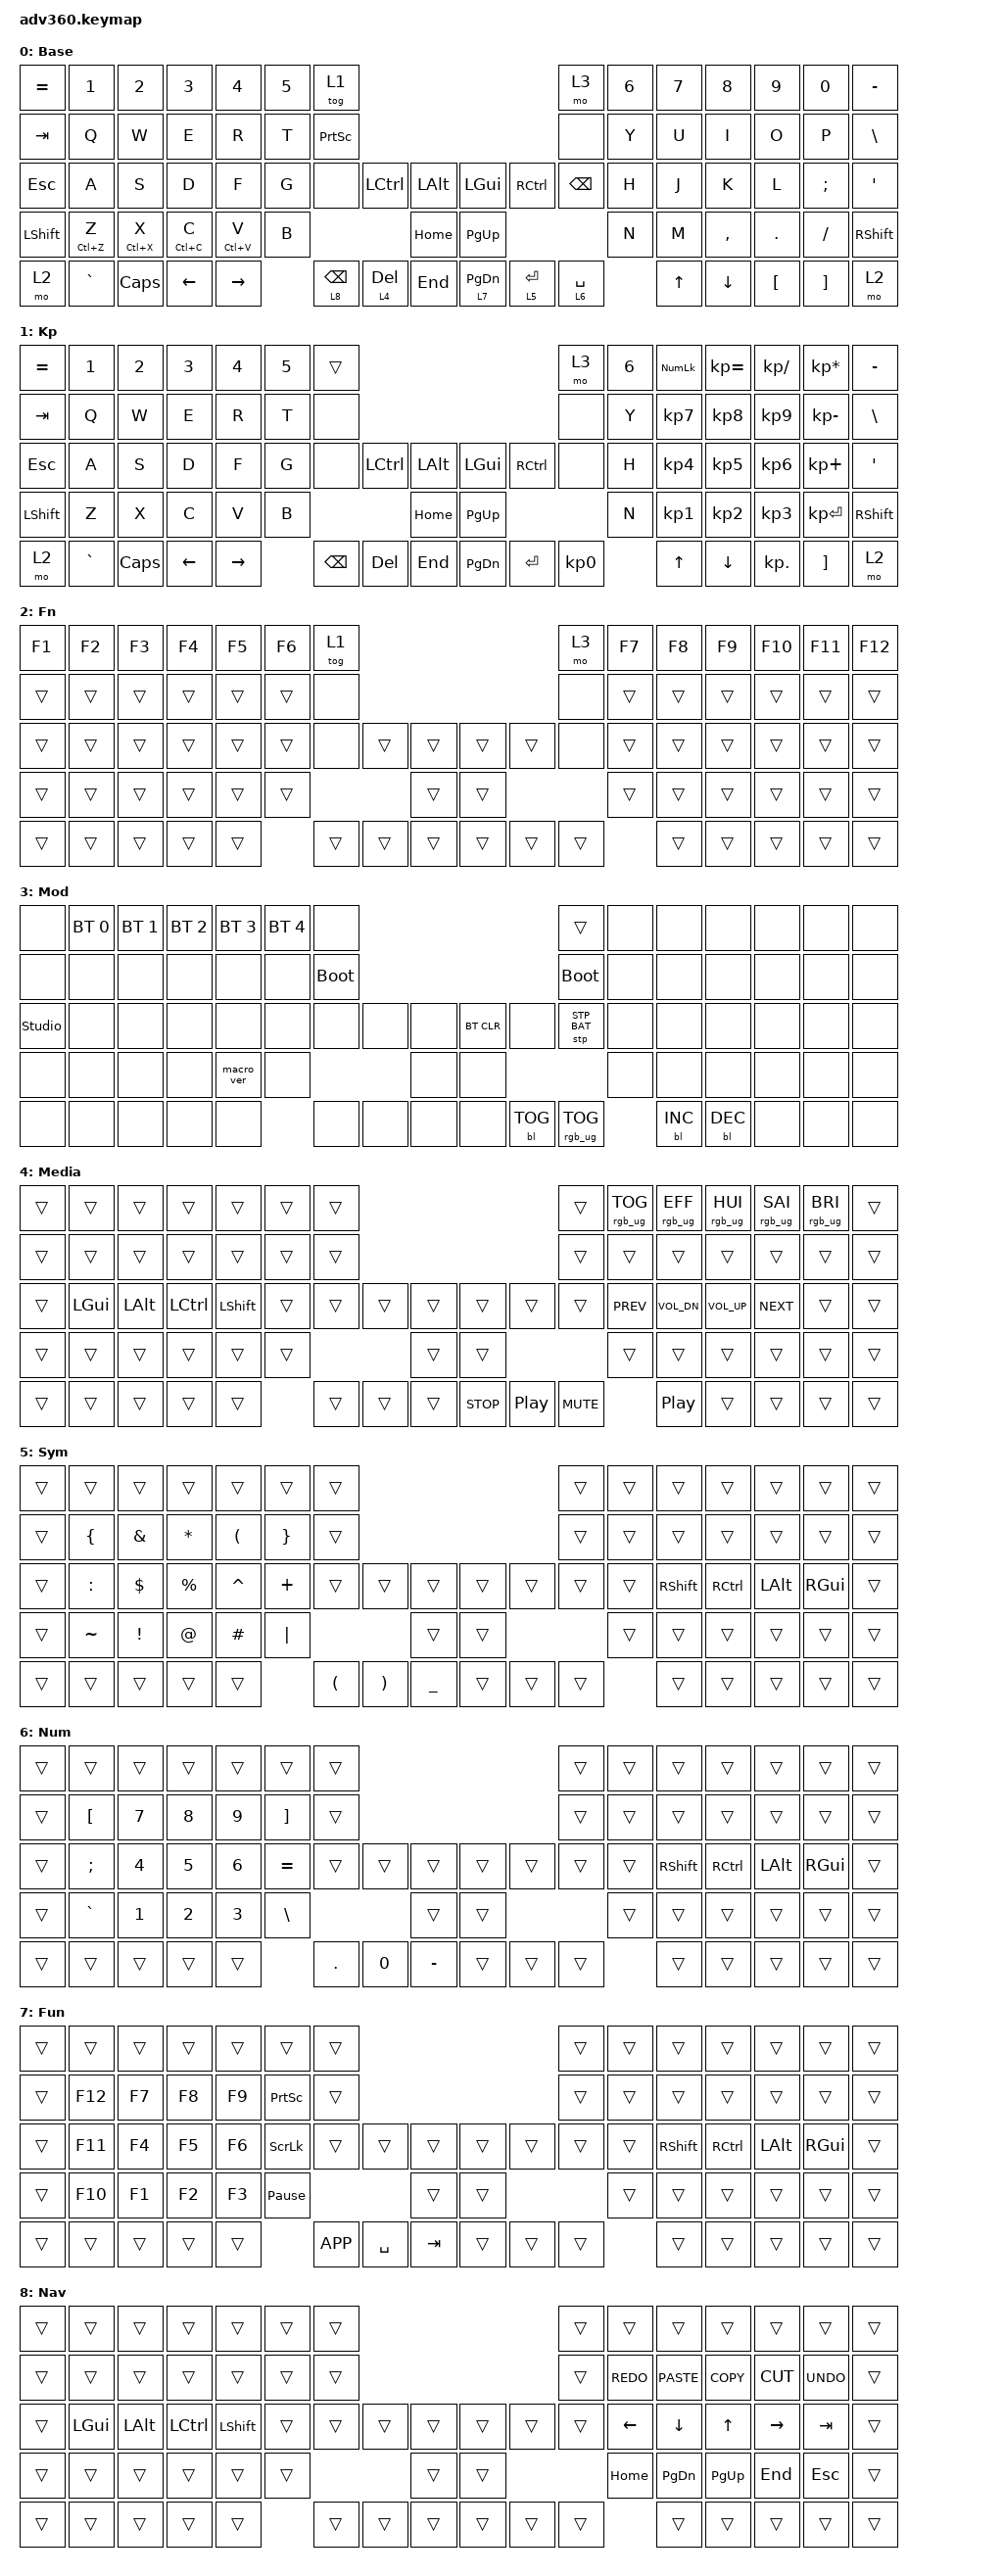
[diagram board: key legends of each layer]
#include <dt-bindings/zmk/stp.h>
#include <behaviors.dtsi>
#include <dt-bindings/zmk/backlight.h>
#include <dt-bindings/zmk/bt.h>
#include <dt-bindings/zmk/keys.h>
#include <dt-bindings/zmk/rgb.h>

/ {
    behaviors {
        #include "macros.dtsi"
        #include "version.dtsi"

        hm: homerow_mods {
            compatible = "zmk,behavior-hold-tap";
            label = "HOMEROW_MODS";
            #binding-cells = <2>;
            tapping-term-ms = <200>;
            quick_tap_ms = <175>;
            flavor = "tap-preferred";
            bindings = <&kp>, <&kp>;
        };

        hmrow: hmrow {
            compatible = "zmk,behavior-hold-tap";
            label = "HMROW";
            #binding-cells = <2>;
            tapping-term-ms = <300>;
            quick_tap_ms = <175>;
            flavor = "tap-preferred";
            bindings = <&kp>, <&kp>;

            hold-trigger-key-positions = <14 15 16 17 28 29 30 31 46 33 50 63 48 0 1 2 3 4 5 6 7 8 9 10 11 12 13 14 15 16 17 18 19 20 21 22 23 24 25 26 27 28 29 30 31 32 33 34 35 36 37 38 39 40 41 42 43 44 45 46 47 48 49 50 51 52 53 54 55 56 57 58 59 60 61 62 63 64 65 66 67 68 69 70 71 72 73 74 75>;
        };

        lgpress: lgpress {
            compatible = "zmk,behavior-hold-tap";
            label = "LGPRESS";
            bindings = <&kp>, <&kp>;

            #binding-cells = <2>;
            tapping-term-ms = <400>;
            flavor = "tap-preferred";
        };

        HMShiftR: HMShiftR {
            compatible = "zmk,behavior-hold-tap";
            label = "HMSHIFTR";
            bindings = <&kp>, <&kp>;

            #binding-cells = <2>;
            tapping-term-ms = <250>;
            flavor = "hold-preferred";
            hold-while-undecided;
            hold-trigger-on-release;
            hold-trigger-key-positions = <0 1 2 3 4 5 6 14 15 16 17 18 19 20 28 29 30 31 32 33 34 35 36 46 47 48 49 50 51 52 60 61 62 63 64 65 66 67>;
        };

        HMShiftL: HMShiftL {
            compatible = "zmk,behavior-hold-tap";
            label = "HMSHIFTL";
            bindings = <&kp>, <&kp>;

            #binding-cells = <2>;
            tapping-term-ms = <250>;
            flavor = "hold-preferred";
            hold-while-undecided;
            hold-trigger-on-release;
            hold-trigger-key-positions = <7 8 9 10 11 12 13 21 22 23 24 25 26 27 37 38 39 40 41 42 43 44 45 53 54 55 56 57 58 59 68 69 70 71 72 73 74 75>;
        };

        HML: HML {
            compatible = "zmk,behavior-hold-tap";
            label = "HML";
            bindings = <&kp>, <&kp>;

            #binding-cells = <2>;
            tapping-term-ms = <500>;
            flavor = "tap-preferred";
            hold-while-undecided;
            hold-trigger-on-release;
            hold-trigger-key-positions = <7 8 9 10 11 12 13 21 22 23 24 25 26 27 37 38 39 40 41 42 43 44 45 53 54 55 56 57 58 59 68 69 70 71 72 73 74 75>;
        };

        HMR: HMR {
            compatible = "zmk,behavior-hold-tap";
            label = "HMR";
            bindings = <&kp>, <&kp>;

            #binding-cells = <2>;
            tapping-term-ms = <500>;
            flavor = "tap-preferred";
            hold-while-undecided;
            hold-trigger-on-release;
            hold-trigger-key-positions = <0 1 2 3 4 5 6 14 15 16 17 18 19 20 28 29 30 31 32 33 34 35 36 46 47 48 49 50 51 52 60 61 62 63 64 65 66 67>;
        };
    };

    combos {
        compatible = "zmk,combos";

        combo_ctrl_r {
            bindings = <&kp RIGHT_CONTROL>;
            key-positions = <42 43>;
            require-prior-idle-ms = <100>;
            layers = <0>;
        };

        combo_ctrl_l {
            bindings = <&kp LEFT_CONTROL>;
            key-positions = <31 30>;
            layers = <0>;
            require-prior-idle-ms = <100>;
        };

        combo_alt_l {
            bindings = <&kp LEFT_ALT>;
            key-positions = <31 32>;
            require-prior-idle-ms = <100>;
            layers = <0>;
        };

        combo_alt_r {
            bindings = <&kp RIGHT_ALT>;
            key-positions = <41 42>;
            require-prior-idle-ms = <100>;
            layers = <0>;
        };

        combo_win_r {
            bindings = <&kp RIGHT_WIN>;
            key-positions = <43 44>;
            require-prior-idle-ms = <100>;
            layers = <0>;
        };

        combo_win_l {
            bindings = <&kp LEFT_WIN>;
            key-positions = <29 30>;
            require-prior-idle-ms = <100>;
            layers = <0>;
        };
    };

    keymap {
        compatible = "zmk,keymap";

        default_layer {
            display-name = "Base";
            bindings = <
&kp EQUAL  &kp N1            &kp N2            &kp N3            &kp N4            &kp N5  &tog 1                                                                     &mo 3          &kp N6  &kp N7  &kp N8     &kp N9    &kp N0    &kp MINUS
&kp TAB    &kp Q             &kp W             &kp E             &kp R             &kp T   &kp PRINTSCREEN                                                            &none          &kp Y   &kp U   &kp I      &kp O     &kp P     &kp BSLH
&kp ESC    &kp A             &kp S             &kp D             &kp F             &kp G   &none            &kp LCTRL     &kp LALT      &kp LGUI         &kp RCTRL    &kp BACKSPACE  &kp H   &kp J   &kp K      &kp L     &kp SEMI  &kp SQT
&kp LSHFT  &lgpress LC(Z) Z  &lgpress LC(X) X  &lgpress LC(C) C  &lgpress LC(V) V  &kp B                                  &kp HOME      &kp PG_UP                                    &kp N   &kp M   &kp COMMA  &kp DOT   &kp FSLH  &kp RSHFT
&mo 2      &kp GRAVE         &kp CAPS          &kp LEFT          &kp RIGHT                 &lt 8 BACKSPACE  &lt 4 DELETE  &kp END       &lt 7 PAGE_DOWN  &lt 5 ENTER  &lt 6 SPACE            &kp UP  &kp DOWN   &kp LBKT  &kp RBKT  &mo 2
            >;
        };

        keypad {
            display-name = "Kp";
            bindings = <
&kp EQUAL  &kp N1     &kp N2    &kp N3    &kp N4     &kp N5  &trans                                                   &mo 3      &kp N6  &kp KP_NUM  &kp KP_EQUAL  &kp KP_DIVIDE  &kp KP_MULTIPLY  &kp MINUS
&kp TAB    &kp Q      &kp W     &kp E     &kp R      &kp T   &none                                                    &none      &kp Y   &kp KP_N7   &kp KP_N8     &kp KP_N9      &kp KP_MINUS     &kp BSLH
&kp ESC    &kp A      &kp S     &kp D     &kp F      &kp G   &none     &kp LCTRL  &kp LALT      &kp LGUI   &kp RCTRL  &none      &kp H   &kp KP_N4   &kp KP_N5     &kp KP_N6      &kp KP_PLUS      &kp SQT
&kp LSHFT  &kp Z      &kp X     &kp C     &kp V      &kp B                        &kp HOME      &kp PG_UP                        &kp N   &kp KP_N1   &kp KP_N2     &kp KP_N3      &kp KP_ENTER     &kp RSHFT
&mo 2      &kp GRAVE  &kp CAPS  &kp LEFT  &kp RIGHT          &kp BSPC  &kp DEL    &kp END       &kp PG_DN  &kp ENTER  &kp KP_N0          &kp UP      &kp DOWN      &kp KP_DOT     &kp RBKT         &mo 2
            >;
        };

        fn {
            display-name = "Fn";
            bindings = <
&kp F1  &kp F2  &kp F3  &kp F4  &kp F5  &kp F6  &tog 1                                      &mo 3   &kp F7  &kp F8  &kp F9  &kp F10  &kp F11  &kp F12
&trans  &trans  &trans  &trans  &trans  &trans  &none                                       &none   &trans  &trans  &trans  &trans   &trans   &trans
&trans  &trans  &trans  &trans  &trans  &trans  &none   &trans  &trans      &trans  &trans  &none   &trans  &trans  &trans  &trans   &trans   &trans
&trans  &trans  &trans  &trans  &trans  &trans                  &trans      &trans                  &trans  &trans  &trans  &trans   &trans   &trans
&trans  &trans  &trans  &trans  &trans          &trans  &trans  &trans      &trans  &trans  &trans          &trans  &trans  &trans   &trans   &trans
            >;
        };

        mod {
            display-name = "Mod";
            bindings = <
&none           &bt BT_SEL 0  &bt BT_SEL 1  &bt BT_SEL 2  &bt BT_SEL 3  &bt BT_SEL 4  &none                                                  &trans           &none  &none       &none       &none  &none  &none
&none           &none         &none         &none         &none         &none         &bootloader                                            &bootloader      &none  &none       &none       &none  &none  &none
&studio_unlock  &none         &none         &none         &none         &none         &none        &none  &none      &bt BT_CLR  &none       &stp STP_BAT     &none  &none       &none       &none  &none  &none
&none           &none         &none         &none         &macro_ver    &none                             &none      &none                                    &none  &none       &none       &none  &none  &none
&none           &none         &none         &none         &none                       &none        &none  &none      &none       &bl BL_TOG  &rgb_ug RGB_TOG         &bl BL_INC  &bl BL_DEC  &none  &none  &none
            >;
        };

        miryoku_media {
            display-name = "Media";
            bindings = <
&trans  &trans    &trans    &trans     &trans     &trans  &trans                                                    &trans      &rgb_ug RGB_TOG  &rgb_ug RGB_EFF  &rgb_ug RGB_HUI  &rgb_ug RGB_SAI  &rgb_ug RGB_BRI  &trans
&trans  &trans    &trans    &trans     &trans     &trans  &trans                                                    &trans      &trans           &trans           &trans           &trans           &trans           &trans
&trans  &kp LGUI  &kp LALT  &kp LCTRL  &kp LSHFT  &trans  &trans  &trans  &trans      &trans      &trans            &trans      &kp C_PREV       &kp C_VOL_DN     &kp C_VOL_UP     &kp C_NEXT       &trans           &trans
&trans  &trans    &trans    &trans     &trans     &trans                  &trans      &trans                                    &trans           &trans           &trans           &trans           &trans           &trans
&trans  &trans    &trans    &trans     &trans             &trans  &trans  &trans      &kp C_STOP  &kp C_PLAY_PAUSE  &kp C_MUTE                   &kp C_PP         &trans           &trans           &trans           &trans
            >;
        };

        miryoku_sym {
            display-name = "Sym";
            bindings = <
&trans  &trans     &trans    &trans     &trans     &trans    &trans                                             &trans  &trans  &trans     &trans     &trans    &trans    &trans
&trans  &kp LBRC   &kp AMPS  &kp ASTRK  &kp LPAR   &kp RBRC  &trans                                             &trans  &trans  &trans     &trans     &trans    &trans    &trans
&trans  &kp COLON  &kp DLLR  &kp PRCNT  &kp CARET  &kp PLUS  &trans    &trans    &trans         &trans  &trans  &trans  &trans  &kp RSHFT  &kp RCTRL  &kp LALT  &kp RGUI  &trans
&trans  &kp TILDE  &kp EXCL  &kp AT     &kp HASH   &kp PIPE                      &trans         &trans                  &trans  &trans     &trans     &trans    &trans    &trans
&trans  &trans     &trans    &trans     &trans               &kp LPAR  &kp RPAR  &kp UNDER      &trans  &trans  &trans          &trans     &trans     &trans    &trans    &trans
            >;
        };

        miryoku_num {
            display-name = "Num";
            bindings = <
&trans  &trans     &trans  &trans  &trans  &trans     &trans                                          &trans  &trans  &trans     &trans     &trans    &trans    &trans
&trans  &kp LBKT   &kp N7  &kp N8  &kp N9  &kp RBKT   &trans                                          &trans  &trans  &trans     &trans     &trans    &trans    &trans
&trans  &kp SEMI   &kp N4  &kp N5  &kp N6  &kp EQUAL  &trans   &trans  &trans         &trans  &trans  &trans  &trans  &kp RSHFT  &kp RCTRL  &kp LALT  &kp RGUI  &trans
&trans  &kp GRAVE  &kp N1  &kp N2  &kp N3  &kp BSLH                    &trans         &trans                  &trans  &trans     &trans     &trans    &trans    &trans
&trans  &trans     &trans  &trans  &trans             &kp DOT  &kp N0  &kp MINUS      &trans  &trans  &trans          &trans     &trans     &trans    &trans    &trans
            >;
        };

        miryoku_fun {
            display-name = "Fun";
            bindings = <
&trans  &trans   &trans  &trans  &trans  &trans           &trans                                             &trans  &trans  &trans     &trans     &trans    &trans    &trans
&trans  &kp F12  &kp F7  &kp F8  &kp F9  &kp PSCRN        &trans                                             &trans  &trans  &trans     &trans     &trans    &trans    &trans
&trans  &kp F11  &kp F4  &kp F5  &kp F6  &kp SLCK         &trans     &trans     &trans       &trans  &trans  &trans  &trans  &kp RSHFT  &kp RCTRL  &kp LALT  &kp RGUI  &trans
&trans  &kp F10  &kp F1  &kp F2  &kp F3  &kp PAUSE_BREAK                        &trans       &trans                  &trans  &trans     &trans     &trans    &trans    &trans
&trans  &trans   &trans  &trans  &trans                   &kp K_APP  &kp SPACE  &kp TAB      &trans  &trans  &trans          &trans     &trans     &trans    &trans    &trans
            >;
        };

        miryoku_nav {
            display-name = "Nav";
            bindings = <
&trans  &trans    &trans    &trans     &trans     &trans  &trans                                      &trans  &trans      &trans       &trans      &trans     &trans      &trans
&trans  &trans    &trans    &trans     &trans     &trans  &trans                                      &trans  &kp K_REDO  &kp K_PASTE  &kp K_COPY  &kp K_CUT  &kp K_UNDO  &trans
&trans  &kp LGUI  &kp LALT  &kp LCTRL  &kp LSHFT  &trans  &trans  &trans  &trans      &trans  &trans  &trans  &kp LEFT    &kp DOWN     &kp UP      &kp RIGHT  &kp TAB     &trans
&trans  &trans    &trans    &trans     &trans     &trans                  &trans      &trans                  &kp HOME    &kp PG_DN    &kp PG_UP   &kp END    &kp ESCAPE  &trans
&trans  &trans    &trans    &trans     &trans             &trans  &trans  &trans      &trans  &trans  &trans              &trans       &trans      &trans     &trans      &trans
            >;
        };
    };
};
